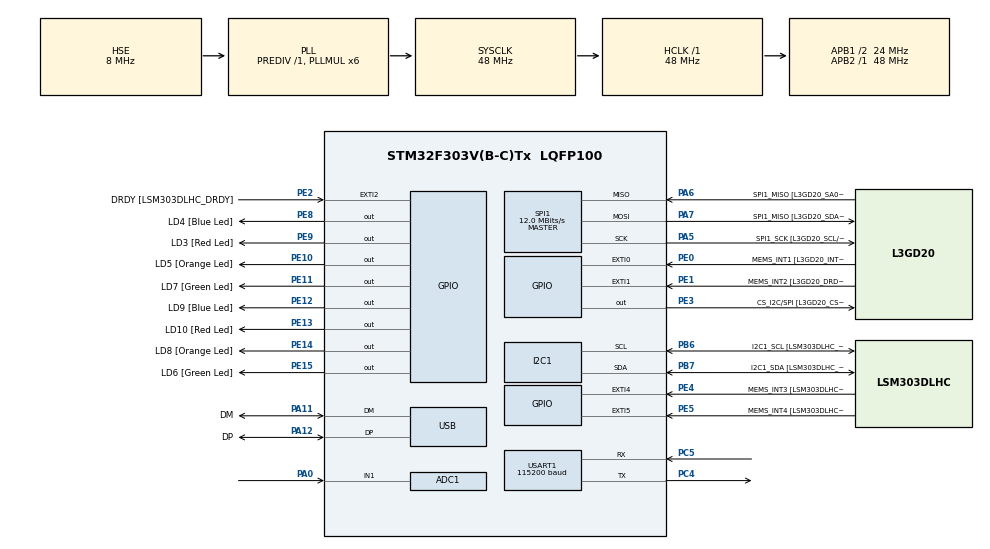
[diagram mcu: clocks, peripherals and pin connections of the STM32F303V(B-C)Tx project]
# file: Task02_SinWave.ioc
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ADC1.Channel-0\#ChannelRegularConversion=ADC_CHANNEL_1
ADC1.ExternalTrigConv=ADC_EXTERNALTRIGCONV_T6_TRGO
ADC1.ExternalTrigConvEdge=ADC_EXTERNALTRIGCONVEDGE_RISING
ADC1.NbrOfConversionFlag=1
ADC1.Offset-0\#ChannelRegularConversion=0
ADC1.OffsetNumber-0\#ChannelRegularConversion=ADC_OFFSET_NONE
ADC1.Rank-0\#ChannelRegularConversion=1
ADC1.SamplingTime-0\#ChannelRegularConversion=ADC_SAMPLETIME_61CYCLES_5
ADC1.SamplingTimeOPAMP-0\#ChannelRegularConversion=ADC_SAMPLETIME_19CYCLES_5
ADC1.master=1
I2C1.Timing=0x2000090E
I2C1.Timing-I2C=0x2000090E
Mcu.Family=STM32F3
Mcu.Name=STM32F303V(B-C)Tx
Mcu.Package=LQFP100
NVIC.ADC1_2_IRQn=true\:0\:0\:false\:false\:true\:true\:true\:true
NVIC.PriorityGroup=NVIC_PRIORITYGROUP_0
NVIC.USB_LP_CAN_RX0_IRQn=true\:0\:0\:false\:false\:true\:false\:true\:true
PA0.Mode=IN1-Single-Ended
PA0.Signal=ADC1_IN1
PA11.GPIO_Label=DM
PA11.Mode=Device
PA11.Signal=USB_DM
PA12.GPIO_Label=DP
PA12.Mode=Device
PA12.Signal=USB_DP
PA13.GPIO_Label=SWDIO
PA13.Mode=Serial_Wire
PA13.Signal=SYS_JTMS-SWDIO
PA14.GPIO_Label=SWCLK
PA14.Mode=Serial_Wire
PA14.Signal=SYS_JTCK-SWCLK
PA5.GPIO_Label=SPI1_SCK [L3GD20_SCL/SPC]
PA5.Mode=Full_Duplex_Master
PA5.Signal=SPI1_SCK
PA6.GPIO_Label=SPI1_MISO [L3GD20_SA0/SDO]
PA6.Mode=Full_Duplex_Master
PA6.Signal=SPI1_MISO
PA7.GPIO_Label=SPI1_MISO [L3GD20_SDA/SDI/SDO]
PA7.Mode=Full_Duplex_Master
PA7.Signal=SPI1_MOSI
PB3.GPIO_Label=SWO
PB3.Signal=SYS_JTDO-TRACESWO
PB6.GPIO_Label=I2C1_SCL [LSM303DLHC_SCL]
PB6.GPIO_Pu=GPIO_PULLUP
PB6.Mode=I2C
PB6.Signal=I2C1_SCL
PB7.GPIO_Label=I2C1_SDA [LSM303DLHC_SDA]
PB7.GPIO_Pu=GPIO_PULLUP
PB7.Mode=I2C
PB7.Signal=I2C1_SDA
PC14-OSC32_IN.GPIO_Label=OSC32_IN
PC14-OSC32_IN.Signal=RCC_OSC32_IN
PC15-OSC32_OUT.GPIO_Label=OSC32_OUT
PC15-OSC32_OUT.Signal=RCC_OSC32_OUT
PC4.Mode=Asynchronous
PC4.Signal=USART1_TX
PC5.Mode=Asynchronous
PC5.Signal=USART1_RX
PE0.GPIO_Label=MEMS_INT1 [L3GD20_INT1]
PE0.GPIO_ModeDefaultEXTI=GPIO_MODE_EVT_RISING
PE0.Signal=GPXTI0
PE1.GPIO_Label=MEMS_INT2 [L3GD20_DRDY/INT2]
PE1.GPIO_ModeDefaultEXTI=GPIO_MODE_EVT_RISING
PE1.Signal=GPXTI1
PE10.GPIO_Label=LD5 [Orange Led]
PE10.Signal=GPIO_Output
PE11.GPIO_Label=LD7 [Green Led]
PE11.Signal=GPIO_Output
PE12.GPIO_Label=LD9 [Blue Led]
PE12.Signal=GPIO_Output
PE13.GPIO_Label=LD10 [Red Led]
PE13.Signal=GPIO_Output
PE14.GPIO_Label=LD8 [Orange Led]
PE14.Signal=GPIO_Output
PE15.GPIO_Label=LD6 [Green Led]
PE15.Signal=GPIO_Output
PE2.GPIO_Label=DRDY [LSM303DLHC_DRDY]
PE2.GPIO_ModeDefaultEXTI=GPIO_MODE_EVT_RISING
PE2.Signal=GPXTI2
PE3.GPIO_Label=CS_I2C/SPI [L3GD20_CS_I2C/SPI]
PE3.Signal=GPIO_Output
PE4.GPIO_Label=MEMS_INT3 [LSM303DLHC_INT1]
PE4.GPIO_ModeDefaultEXTI=GPIO_MODE_EVT_RISING
PE4.Signal=GPXTI4
PE5.GPIO_Label=MEMS_INT4 [LSM303DLHC_INT2]
PE5.GPIO_ModeDefaultEXTI=GPIO_MODE_EVT_RISING
PE5.Signal=GPXTI5
PE8.GPIO_Label=LD4 [Blue Led]
PE8.Signal=GPIO_Output
PE9.GPIO_Label=LD3 [Red Led]
PE9.Signal=GPIO_Output
PF0-OSC_IN.GPIO_Label=OSC_IN
PF0-OSC_IN.Mode=HSE-External-Clock-Source
PF0-OSC_IN.Signal=RCC_OSC_IN
PF1-OSC_OUT.GPIO_Label=OSC_OUT
PF1-OSC_OUT.Signal=RCC_OSC_OUT
ProjectManager.HeapSize=0x200
ProjectManager.StackSize=0x400
ProjectManager.TargetToolchain=CMake
RCC.AHBFreq_Value=48000000
RCC.APB1CLKDivider=RCC_HCLK_DIV2
RCC.APB1Freq_Value=24000000
RCC.APB1TimFreq_Value=48000000
RCC.APB2Freq_Value=48000000
RCC.APB2TimFreq_Value=48000000
RCC.CortexFreq_Value=48000000
RCC.HCLKFreq_Value=48000000
RCC.HSE_VALUE=8000000
RCC.HSI_VALUE=8000000
RCC.LSE_VALUE=32768
RCC.PLLMUL=RCC_PLL_MUL6
RCC.SYSCLKFreq_VALUE=48000000
RCC.SYSCLKSourceVirtual=RCC_SYSCLKSOURCE_PLLCLK
RCC.USBFreq_Value=48000000
SPI1.BaudRatePrescaler=SPI_BAUDRATEPRESCALER_4
SPI1.BaudRatePrescaler-Full_Duplex_Master=SPI_BAUDRATEPRESCALER_2
SPI1.CalculateBaudRate=12.0 MBits/s
SPI1.CalculateBaudRate-Full_Duplex_Master=24.0 MBits/s
SPI1.Direction=SPI_DIRECTION_2LINES
SPI1.Mode=SPI_MODE_MASTER
SPI1.Mode-Full_Duplex_Master=SPI_MODE_MASTER
SPI1.VirtualType=VM_MASTER
STMicroelectronics.X-CUBE-ALGOBUILD.1.4.0.LibraryCcDSPOoLibraryJjDSPOoLibrary=true
TIM6.AutoReloadPreload=TIM_AUTORELOAD_PRELOAD_ENABLE
TIM6.Period=999
TIM6.Prescaler=71
USART1.BaudRate=115200
USART1.VirtualMode-Asynchronous=VM_ASYNC
USB_DEVICE.CLASS_NAME_FS=CDC
USB_DEVICE.VirtualMode=Cdc
USB_DEVICE.VirtualModeFS=Cdc_FS
VP_STMicroelectronics.X-CUBE-ALGOBUILD_VS_DSPOoLibraryJjLibrary_1.4.0_1.4.0.Mode=DSPOoLibraryJjLibrary
VP_TIM6_VS_ClockSourceINT.Mode=Enable_Timer
VP_USB_DEVICE_VS_USB_DEVICE_CDC_FS.Mode=CDC_FS
board=STM32F3DISCOVERY

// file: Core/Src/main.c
/* USER CODE BEGIN Header */
/**
  ******************************************************************************
  * @file           : main.c
  * @brief          : Main program body
  ******************************************************************************
  * @attention
  *
  * Copyright (c) 2025 STMicroelectronics.
  * All rights reserved.
  *
  * This software is licensed under terms that can be found in the LICENSE file
  * in the root directory of this software component.
  * If no LICENSE file comes with this software, it is provided AS-IS.
  *
  ******************************************************************************
  */
/* USER CODE END Header */
#include "main.h"
#include "usb_device.h"

/* USER CODE BEGIN Includes */
#include <stdlib.h>
#include <string.h>
#include "arm_math.h"
/* USER CODE END Includes */

ADC_HandleTypeDef hadc1;

I2C_HandleTypeDef hi2c1;

SPI_HandleTypeDef hspi1;

TIM_HandleTypeDef htim6;

UART_HandleTypeDef huart1;

/* USER CODE BEGIN PV */
#define SAMPLE_BUFFER_SIZE 10

float32_t inputBuffer[SAMPLE_BUFFER_SIZE];
volatile uint16_t sampleIndex = 0;
uint8_t buffer_index = 0;

char msg[64];
/* USER CODE END PV */

void SystemClock_Config(void);
static void MX_GPIO_Init(void);
static void MX_ADC1_Init(void);
static void MX_I2C1_Init(void);
static void MX_SPI1_Init(void);
static void MX_TIM6_Init(void);
static void MX_USART1_UART_Init(void);

/* USER CODE BEGIN 0 */
// Function to insert new sample into buffer

void update_moving_average_buffer(uint32_t new_sample) {
  inputBuffer[buffer_index] = (float32_t)new_sample;
  buffer_index = (buffer_index + 1) % SAMPLE_BUFFER_SIZE;

  if (sampleIndex < SAMPLE_BUFFER_SIZE)
      sampleIndex++; // Only increase until buffer fills once
}

// Compute mean of current buffer contents
float32_t compute_filtered_value() {
  float32_t result = 0;

  // Only average valid samples (if buffer not fully filled yet)
  arm_mean_f32(inputBuffer, sampleIndex, &result);
  return result;
}

void HAL_ADC_ConvCpltCallback(ADC_HandleTypeDef* hadc)
{
    if (hadc->Instance == ADC1)
    {
        uint16_t raw = HAL_ADC_GetValue(hadc);
        update_moving_average_buffer(raw);

        float32_t filtered = 0.0f;

        // Only compute mean if at least 1 sample
        if (sampleIndex > 0)
        {
            arm_mean_f32(inputBuffer, SAMPLE_BUFFER_SIZE, &filtered);
            uint16_t f = (uint16_t) filtered;
            // Properly format: raw,filtered\r\n
            // Ensure buffer size is large enough
            sprintf(msg, "%u,%u\r\n", raw, f);  // Only use if you're sure msg is large enough
            HAL_UART_Transmit(&huart1, (uint8_t*)msg, strlen(msg), HAL_MAX_DELAY);
        }
    }
}

/* USER CODE END 0 */

int main(void)
{

  /* MCU Configuration--------------------------------------------------------*/

  /* Reset of all peripherals, Initializes the Flash interface and the Systick. */
  HAL_Init();

  /* Configure the system clock */
  SystemClock_Config();

  /* Initialize all configured peripherals */
  MX_GPIO_Init();
  MX_ADC1_Init();
  MX_I2C1_Init();
  MX_SPI1_Init();
  MX_TIM6_Init();
  MX_USART1_UART_Init();
  MX_USB_DEVICE_Init();
  /* USER CODE BEGIN 2 */

  arm_fir_instance_f32 S;

  // Initialize buffer with 0s
  for (int i = 0; i < SAMPLE_BUFFER_SIZE; i++) inputBuffer[i] = 0;

  HAL_ADC_Start_IT(&hadc1);                 // ADC will now start conversion when triggered
  HAL_TIM_Base_Start(&htim6);               // Timer runs normally (no interrupt)

  /* USER CODE END 2 */

  /* Infinite loop */
  while (1)
  {

  }
}

void SystemClock_Config(void)
{
  RCC_OscInitTypeDef RCC_OscInitStruct = {0};
  RCC_ClkInitTypeDef RCC_ClkInitStruct = {0};
  RCC_PeriphCLKInitTypeDef PeriphClkInit = {0};

  /** Initializes the RCC Oscillators according to the specified parameters
  * in the RCC_OscInitTypeDef structure.
  */
  RCC_OscInitStruct.OscillatorType = RCC_OSCILLATORTYPE_HSI|RCC_OSCILLATORTYPE_HSE;
  RCC_OscInitStruct.HSEState = RCC_HSE_BYPASS;
  RCC_OscInitStruct.HSEPredivValue = RCC_HSE_PREDIV_DIV1;
  RCC_OscInitStruct.HSIState = RCC_HSI_ON;
  RCC_OscInitStruct.HSICalibrationValue = RCC_HSICALIBRATION_DEFAULT;
  RCC_OscInitStruct.PLL.PLLState = RCC_PLL_ON;
  RCC_OscInitStruct.PLL.PLLSource = RCC_PLLSOURCE_HSE;
  RCC_OscInitStruct.PLL.PLLMUL = RCC_PLL_MUL6;
  if (HAL_RCC_OscConfig(&RCC_OscInitStruct) != HAL_OK)
  {
    Error_Handler();
  }

  /** Initializes the CPU, AHB and APB buses clocks
  */
  RCC_ClkInitStruct.ClockType = RCC_CLOCKTYPE_HCLK|RCC_CLOCKTYPE_SYSCLK
                              |RCC_CLOCKTYPE_PCLK1|RCC_CLOCKTYPE_PCLK2;
  RCC_ClkInitStruct.SYSCLKSource = RCC_SYSCLKSOURCE_PLLCLK;
  RCC_ClkInitStruct.AHBCLKDivider = RCC_SYSCLK_DIV1;
  RCC_ClkInitStruct.APB1CLKDivider = RCC_HCLK_DIV2;
  RCC_ClkInitStruct.APB2CLKDivider = RCC_HCLK_DIV1;

  if (HAL_RCC_ClockConfig(&RCC_ClkInitStruct, FLASH_LATENCY_1) != HAL_OK)
  {
    Error_Handler();
  }
  PeriphClkInit.PeriphClockSelection = RCC_PERIPHCLK_USB|RCC_PERIPHCLK_USART1
                              |RCC_PERIPHCLK_I2C1|RCC_PERIPHCLK_ADC12;
  PeriphClkInit.Usart1ClockSelection = RCC_USART1CLKSOURCE_PCLK2;
  PeriphClkInit.Adc12ClockSelection = RCC_ADC12PLLCLK_DIV1;
  PeriphClkInit.I2c1ClockSelection = RCC_I2C1CLKSOURCE_HSI;
  PeriphClkInit.USBClockSelection = RCC_USBCLKSOURCE_PLL;
  if (HAL_RCCEx_PeriphCLKConfig(&PeriphClkInit) != HAL_OK)
  {
    Error_Handler();
  }
}

static void MX_ADC1_Init(void)
{

  ADC_MultiModeTypeDef multimode = {0};
  ADC_ChannelConfTypeDef sConfig = {0};

  /** Common config
  */
  hadc1.Instance = ADC1;
  hadc1.Init.ClockPrescaler = ADC_CLOCK_ASYNC_DIV1;
  hadc1.Init.Resolution = ADC_RESOLUTION_12B;
  hadc1.Init.ScanConvMode = ADC_SCAN_DISABLE;
  hadc1.Init.ContinuousConvMode = DISABLE;
  hadc1.Init.DiscontinuousConvMode = DISABLE;
  hadc1.Init.ExternalTrigConvEdge = ADC_EXTERNALTRIGCONVEDGE_RISING;
  hadc1.Init.ExternalTrigConv = ADC_EXTERNALTRIGCONV_T6_TRGO;
  hadc1.Init.DataAlign = ADC_DATAALIGN_RIGHT;
  hadc1.Init.NbrOfConversion = 1;
  hadc1.Init.DMAContinuousRequests = DISABLE;
  hadc1.Init.EOCSelection = ADC_EOC_SINGLE_CONV;
  hadc1.Init.LowPowerAutoWait = DISABLE;
  hadc1.Init.Overrun = ADC_OVR_DATA_OVERWRITTEN;
  if (HAL_ADC_Init(&hadc1) != HAL_OK)
  {
    Error_Handler();
  }

  /** Configure the ADC multi-mode
  */
  multimode.Mode = ADC_MODE_INDEPENDENT;
  if (HAL_ADCEx_MultiModeConfigChannel(&hadc1, &multimode) != HAL_OK)
  {
    Error_Handler();
  }

  /** Configure Regular Channel
  */
  sConfig.Channel = ADC_CHANNEL_1;
  sConfig.Rank = ADC_REGULAR_RANK_1;
  sConfig.SingleDiff = ADC_SINGLE_ENDED;
  sConfig.SamplingTime = ADC_SAMPLETIME_61CYCLES_5;
  sConfig.OffsetNumber = ADC_OFFSET_NONE;
  sConfig.Offset = 0;
  if (HAL_ADC_ConfigChannel(&hadc1, &sConfig) != HAL_OK)
  {
    Error_Handler();
  }

}

static void MX_I2C1_Init(void)
{

  hi2c1.Instance = I2C1;
  hi2c1.Init.Timing = 0x2000090E;
  hi2c1.Init.OwnAddress1 = 0;
  hi2c1.Init.AddressingMode = I2C_ADDRESSINGMODE_7BIT;
  hi2c1.Init.DualAddressMode = I2C_DUALADDRESS_DISABLE;
  hi2c1.Init.OwnAddress2 = 0;
  hi2c1.Init.OwnAddress2Masks = I2C_OA2_NOMASK;
  hi2c1.Init.GeneralCallMode = I2C_GENERALCALL_DISABLE;
  hi2c1.Init.NoStretchMode = I2C_NOSTRETCH_DISABLE;
  if (HAL_I2C_Init(&hi2c1) != HAL_OK)
  {
    Error_Handler();
  }

  /** Configure Analogue filter
  */
  if (HAL_I2CEx_ConfigAnalogFilter(&hi2c1, I2C_ANALOGFILTER_ENABLE) != HAL_OK)
  {
    Error_Handler();
  }

  /** Configure Digital filter
  */
  if (HAL_I2CEx_ConfigDigitalFilter(&hi2c1, 0) != HAL_OK)
  {
    Error_Handler();
  }

}

static void MX_SPI1_Init(void)
{

  /* SPI1 parameter configuration*/
  hspi1.Instance = SPI1;
  hspi1.Init.Mode = SPI_MODE_MASTER;
  hspi1.Init.Direction = SPI_DIRECTION_2LINES;
  hspi1.Init.DataSize = SPI_DATASIZE_4BIT;
  hspi1.Init.CLKPolarity = SPI_POLARITY_LOW;
  hspi1.Init.CLKPhase = SPI_PHASE_1EDGE;
  hspi1.Init.NSS = SPI_NSS_SOFT;
  hspi1.Init.BaudRatePrescaler = SPI_BAUDRATEPRESCALER_4;
  hspi1.Init.FirstBit = SPI_FIRSTBIT_MSB;
  hspi1.Init.TIMode = SPI_TIMODE_DISABLE;
  hspi1.Init.CRCCalculation = SPI_CRCCALCULATION_DISABLE;
  hspi1.Init.CRCPolynomial = 7;
  hspi1.Init.CRCLength = SPI_CRC_LENGTH_DATASIZE;
  hspi1.Init.NSSPMode = SPI_NSS_PULSE_ENABLE;
  if (HAL_SPI_Init(&hspi1) != HAL_OK)
  {
    Error_Handler();
  }

}

static void MX_TIM6_Init(void)
{

  TIM_MasterConfigTypeDef sMasterConfig = {0};

  htim6.Instance = TIM6;
  htim6.Init.Prescaler = 71;
  htim6.Init.CounterMode = TIM_COUNTERMODE_UP;
  htim6.Init.Period = 999;
  htim6.Init.AutoReloadPreload = TIM_AUTORELOAD_PRELOAD_ENABLE;
  if (HAL_TIM_Base_Init(&htim6) != HAL_OK)
  {
    Error_Handler();
  }
  sMasterConfig.MasterOutputTrigger = TIM_TRGO_UPDATE;
  sMasterConfig.MasterSlaveMode = TIM_MASTERSLAVEMODE_DISABLE;
  if (HAL_TIMEx_MasterConfigSynchronization(&htim6, &sMasterConfig) != HAL_OK)
  {
    Error_Handler();
  }

}

static void MX_USART1_UART_Init(void)
{

  huart1.Instance = USART1;
  huart1.Init.BaudRate = 115200;
  huart1.Init.WordLength = UART_WORDLENGTH_8B;
  huart1.Init.StopBits = UART_STOPBITS_1;
  huart1.Init.Parity = UART_PARITY_NONE;
  huart1.Init.Mode = UART_MODE_TX_RX;
  huart1.Init.HwFlowCtl = UART_HWCONTROL_NONE;
  huart1.Init.OverSampling = UART_OVERSAMPLING_16;
  huart1.Init.OneBitSampling = UART_ONE_BIT_SAMPLE_DISABLE;
  huart1.AdvancedInit.AdvFeatureInit = UART_ADVFEATURE_NO_INIT;
  if (HAL_UART_Init(&huart1) != HAL_OK)
  {
    Error_Handler();
  }

}

static void MX_GPIO_Init(void)
{
  GPIO_InitTypeDef GPIO_InitStruct = {0};

  /* GPIO Ports Clock Enable */
  __HAL_RCC_GPIOE_CLK_ENABLE();
  __HAL_RCC_GPIOC_CLK_ENABLE();
  __HAL_RCC_GPIOF_CLK_ENABLE();
  __HAL_RCC_GPIOA_CLK_ENABLE();
  __HAL_RCC_GPIOB_CLK_ENABLE();

  /*Configure GPIO pin Output Level */
  HAL_GPIO_WritePin(GPIOE, CS_I2C_SPI_Pin|LD4_Pin|LD3_Pin|LD5_Pin
                          |LD7_Pin|LD9_Pin|LD10_Pin|LD8_Pin
                          |LD6_Pin, GPIO_PIN_RESET);

  /*Configure GPIO pins : DRDY_Pin MEMS_INT3_Pin MEMS_INT4_Pin MEMS_INT1_Pin
                           MEMS_INT2_Pin */
  GPIO_InitStruct.Pin = DRDY_Pin|MEMS_INT3_Pin|MEMS_INT4_Pin|MEMS_INT1_Pin
                          |MEMS_INT2_Pin;
  GPIO_InitStruct.Mode = GPIO_MODE_EVT_RISING;
  GPIO_InitStruct.Pull = GPIO_NOPULL;
  HAL_GPIO_Init(GPIOE, &GPIO_InitStruct);

  /*Configure GPIO pins : CS_I2C_SPI_Pin LD4_Pin LD3_Pin LD5_Pin
                           LD7_Pin LD9_Pin LD10_Pin LD8_Pin
                           LD6_Pin */
  GPIO_InitStruct.Pin = CS_I2C_SPI_Pin|LD4_Pin|LD3_Pin|LD5_Pin
                          |LD7_Pin|LD9_Pin|LD10_Pin|LD8_Pin
                          |LD6_Pin;
  GPIO_InitStruct.Mode = GPIO_MODE_OUTPUT_PP;
  GPIO_InitStruct.Pull = GPIO_NOPULL;
  GPIO_InitStruct.Speed = GPIO_SPEED_FREQ_LOW;
  HAL_GPIO_Init(GPIOE, &GPIO_InitStruct);

}

/* USER CODE BEGIN 4 */
// void HAL_ADC_ConvCpltCallback(ADC_HandleTypeDef* hadc)
// {
//     if (hadc->Instance == ADC1)
//     {
//       char msg[16];
//         uint16_t input = HAL_ADC_GetValue(hadc);
//         sprintf(msg, "%u", input);
//         update_moving_average_buffer(input);
//         HAL_UART_Transmit(&huart1, (uint8_t*)msg, strlen(msg), HAL_MAX_DELAY);
//         if (sampleIndex >= SAMPLE_BUFFER_SIZE)
//         {
//             samplingDone = 1;
//             HAL_TIM_Base_Stop(&htim6);  // Stop triggering ADC
//         }
//     }
// }

/* USER CODE END 4 */

void Error_Handler(void)
{
  __disable_irq();
  while (1)
  {
  }
}
